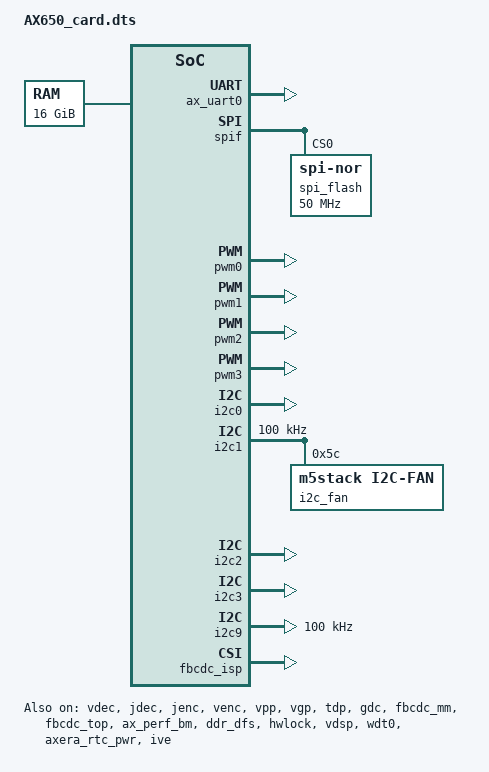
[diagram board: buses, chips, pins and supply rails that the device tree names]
// SPDX-License-Identifier: GPL-2.0
/*
 * dts file for Axera EVB Development Board
 *
 * Copyright (C) 2020, Axera Ltd.
 *
 */

/dts-v1/;
#include "AX650.dtsi"
#include "AX650_pinctrl.dtsi"
#include <dt-bindings/phy/jlsemi-dt-phy.h>
/ {
	memory@100000000 {
		device_type = "memory";
		reg = <0x1 0x00000000 0x4 0x00000000>;
	};
	reserved-memory {
		#address-cells = <2>;
		#size-cells = <2>;
		ranges;
		linux,cma {
			compatible = "shared-dma-pool";
			reusable;
			size = <0x00000000 0x10000000>;
			linux,cma-default;
		};
		axera_memory_dump@0 {
			compatible = "axera_memory_dump";
			reg = <0x1 0x050f0000 0x0 0x3000>;
			fix_addr = <0x7C8D6E02>;
		};
		ramoops_mem@106000000 {
			compatible = "ramoops";
			reg = <0x1 0x06000000 0x0 0xf0000>;
			record-size = <0x40000>;
			console-size = <0x80000>;
			ftrace-size = <0x20000>;
		};

		vdsp0_reserved: vdsp0_reserved@10E000000 {
			no-map;
			reg = <0x1 0x0E000000 0x0 0x1000000>;
		};
		vdsp1_reserved: vdsp1_reserved@10F000000 {
			no-map;
			reg = <0x1 0x0F000000 0x0 0x1000000>;
		};
		ramdisk_mem@140000000 {
			compatible = "axera, ramdisk";
			reg = <0x1 0x40000000 0x0 0x8000000>;
			addr = <0x1 0x40000000>;
			size = <0x0 0x8000000>;
			no-map;
		};
	};

	chosen {
		bootargs = "Please DO NOT config this parameter. Please DO NOT config this parameter. Please DO NOT config this parameter. Please DO NOT config this parameter. Please DO NOT config this parameter. Please DO NOT config this parameter. Please DO NOT config this parameter. Please DO NOT config this parameter. Please config BOOTARGS_EMMC/BOOTARGS_SPINOR/BOOTARGS_SPI in u-boot-2020.04/include/configs/ax650_common.h";
	};

	// usb30: dwc3@0x30c00000 {
	// 	compatible = "snps,dwc3";
	// 	status = "okay";
	// };

	// usb31: dwc3@0x30d00000 {
	// 	compatible = "snps,dwc3";
	// 	status = "okay";
	// };

	// usb32: dwc3@0x28100000 {
	// 	compatible = "snps,dwc3";
	// 	status = "okay";
	// };

	// aliases {
	// 	usb0 = &usb30;
	// 	usb1 = &usb31;
	// 	usb2 = &usb32;
	// };

	fbcdc_config_val: fbcdc_config_val@0 {
		regs-num = <0x62>;
		regs-val = <0x00000020 0x00000001>,
			   <0x00000024 0x00000001>,
			   <0x00000000 0x00000000>,
			   <0x00000014 0x00000000>,
			   <0x00000048 0x0000001c>,
			   <0x0000024c 0x00000010>,
			   <0x0000004c 0x8000006b>,
			   <0x00000054 0x8000006b>,
			   <0x0000005c 0xc7b8a46b>,
			   <0x00000064 0xc7b8a46b>,
			   <0x0000006c 0x70000004>,
			   <0x00000074 0xc5040f71>,
			   <0x0000007c 0xc7148d60>,
			   <0x00000084 0x60000000>,
			   <0x0000008c 0x20000000>,
			   <0x00000094 0x50000000>,
			   <0x0000009c 0xc5a8207b>,
			   <0x000000a4 0x40000000>,
			   <0x000000ac 0xc7b8a46b>,
			   <0x000000b4 0x70000004>,
			   <0x000000bc 0xb0148d60>,
			   <0x000000c4 0x9000124a>,
			   <0x000000cc 0xb0148d60>,
			   <0x000000d4 0x9000124a>,
			   <0x000000dc 0xb0148d60>,
			   <0x000000e4 0x9000124a>,
			   <0x000000ec 0xb0148d60>,
			   <0x000000f4 0x9000124a>,
			   <0x000000fc 0xb0148d60>,
			   <0x00000104 0x9000124a>,
			   <0x0000010c 0xb0148d60>,
			   <0x00000114 0x9000124a>,
			   <0x0000011c 0xb0148d60>,
			   <0x00000124 0x9000124a>,
			   <0x0000012c 0x10000000>,
			   <0x00000050 0x0625a820>,
			   <0x00000058 0x0625a820>,
			   <0x00000060 0x0625a820>,
			   <0x00000068 0x0625a820>,
			   <0x00000070 0x0e65a820>,
			   <0x00000078 0x48d60c51>,
			   <0x00000080 0xc5181ccb>,
			   <0x00000088 0x10b5040f>,
			   <0x00000090 0x00000249>,
			   <0x00000098 0x01181cd3>,
			   <0x000000a0 0x8a46b062>,
			   <0x000000a8 0x0009c928>,
			   <0x000000b0 0x0628c0e6>,
			   <0x000000b8 0x9285a820>,
			   <0x000000c0 0xc5181cd3>,
			   <0x000000c8 0x16a081ee>,
			   <0x000000d0 0xc5181cd3>,
			   <0x000000d8 0x16a081ee>,
			   <0x000000e0 0xc5181cd3>,
			   <0x000000e8 0x16a081ee>,
			   <0x000000f0 0xc5181cd3>,
			   <0x000000f8 0x16a081ee>,
			   <0x00000100 0xc5181cd3>,
			   <0x00000108 0x16a081ee>,
			   <0x00000110 0xc5181cd3>,
			   <0x00000118 0x16a081ee>,
			   <0x00000120 0xc5181cd3>,
			   <0x00000128 0x16a081ee>,
			   <0x00000130 0x00000013>,
			   <0x00000250 0x40000000>,
			   <0x00000258 0x40000000>,
			   <0x00000260 0x60000000>,
			   <0x00000268 0x60000000>,
			   <0x00000270 0x80000029>,
			   <0x00000278 0x80000029>,
			   <0x00000280 0x30000000>,
			   <0x00000288 0x90000101>,
			   <0x00000290 0xa0002029>,
			   <0x00000298 0xa0002029>,
			   <0x000002a0 0xa0002029>,
			   <0x000002a8 0xa0002029>,
			   <0x000002b0 0xa0002029>,
			   <0x000002b8 0xa0002029>,
			   <0x000002c0 0xa0002029>,
			   <0x000002c8 0xa0002029>,
			   <0x000002d0 0x20000000>,
			   <0x00000254 0x00018820>,
			   <0x0000025c 0x00018820>,
			   <0x00000264 0x0a418820>,
			   <0x0000026c 0x0a418820>,
			   <0x00000274 0x06239820>,
			   <0x0000027c 0x06239820>,
			   <0x00000284 0x00002020>,
			   <0x0000028c 0x48311cc9>,
			   <0x00000294 0x06239928>,
			   <0x0000029c 0x06239928>,
			   <0x000002a4 0x06239928>,
			   <0x000002ac 0x06239928>,
			   <0x000002b4 0x06239928>,
			   <0x000002bc 0x06239928>,
			   <0x000002c4 0x06239928>,
			   <0x000002cc 0x06239928>,
			   <0x000002d4 0x00000128>;
	};

	fbcdc_config_val_top: fbcdc_config_val_top@0 {
		regs-num = <0x62>;
		regs-val = <0x00000020 0x00000001>,
			   <0x00000024 0x00000001>,
			   <0x00000000 0x00000001>, /* reverse fbc bypass enable signal of top module */
			   <0x00000014 0x00000001>, /* reverse fbdc bypass enable signal of top module */
			   <0x00000048 0x0000001c>,
			   <0x0000024c 0x00000010>,
			   <0x0000004c 0x8000006b>,
			   <0x00000054 0x8000006b>,
			   <0x0000005c 0xc7b8a46b>,
			   <0x00000064 0xc7b8a46b>,
			   <0x0000006c 0x70000004>,
			   <0x00000074 0xc5040f71>,
			   <0x0000007c 0xc7148d60>,
			   <0x00000084 0x60000000>,
			   <0x0000008c 0x20000000>,
			   <0x00000094 0x50000000>,
			   <0x0000009c 0xc5a8207b>,
			   <0x000000a4 0x40000000>,
			   <0x000000ac 0xc7b8a46b>,
			   <0x000000b4 0x70000004>,
			   <0x000000bc 0xb0148d60>,
			   <0x000000c4 0x9000124a>,
			   <0x000000cc 0xb0148d60>,
			   <0x000000d4 0x9000124a>,
			   <0x000000dc 0xb0148d60>,
			   <0x000000e4 0x9000124a>,
			   <0x000000ec 0xb0148d60>,
			   <0x000000f4 0x9000124a>,
			   <0x000000fc 0xb0148d60>,
			   <0x00000104 0x9000124a>,
			   <0x0000010c 0xb0148d60>,
			   <0x00000114 0x9000124a>,
			   <0x0000011c 0xb0148d60>,
			   <0x00000124 0x9000124a>,
			   <0x0000012c 0x10000000>,
			   <0x00000050 0x0625a820>,
			   <0x00000058 0x0625a820>,
			   <0x00000060 0x0625a820>,
			   <0x00000068 0x0625a820>,
			   <0x00000070 0x0e65a820>,
			   <0x00000078 0x48d60c51>,
			   <0x00000080 0xc5181ccb>,
			   <0x00000088 0x10b5040f>,
			   <0x00000090 0x00000249>,
			   <0x00000098 0x01181cd3>,
			   <0x000000a0 0x8a46b062>,
			   <0x000000a8 0x0009c928>,
			   <0x000000b0 0x0628c0e6>,
			   <0x000000b8 0x9285a820>,
			   <0x000000c0 0xc5181cd3>,
			   <0x000000c8 0x16a081ee>,
			   <0x000000d0 0xc5181cd3>,
			   <0x000000d8 0x16a081ee>,
			   <0x000000e0 0xc5181cd3>,
			   <0x000000e8 0x16a081ee>,
			   <0x000000f0 0xc5181cd3>,
			   <0x000000f8 0x16a081ee>,
			   <0x00000100 0xc5181cd3>,
			   <0x00000108 0x16a081ee>,
			   <0x00000110 0xc5181cd3>,
			   <0x00000118 0x16a081ee>,
			   <0x00000120 0xc5181cd3>,
			   <0x00000128 0x16a081ee>,
			   <0x00000130 0x00000013>,
			   <0x00000250 0x40000000>,
			   <0x00000258 0x40000000>,
			   <0x00000260 0x60000000>,
			   <0x00000268 0x60000000>,
			   <0x00000270 0x80000029>,
			   <0x00000278 0x80000029>,
			   <0x00000280 0x30000000>,
			   <0x00000288 0x90000101>,
			   <0x00000290 0xa0002029>,
			   <0x00000298 0xa0002029>,
			   <0x000002a0 0xa0002029>,
			   <0x000002a8 0xa0002029>,
			   <0x000002b0 0xa0002029>,
			   <0x000002b8 0xa0002029>,
			   <0x000002c0 0xa0002029>,
			   <0x000002c8 0xa0002029>,
			   <0x000002d0 0x20000000>,
			   <0x00000254 0x00018820>,
			   <0x0000025c 0x00018820>,
			   <0x00000264 0x0a418820>,
			   <0x0000026c 0x0a418820>,
			   <0x00000274 0x06239820>,
			   <0x0000027c 0x06239820>,
			   <0x00000284 0x00002020>,
			   <0x0000028c 0x48311cc9>,
			   <0x00000294 0x06239928>,
			   <0x0000029c 0x06239928>,
			   <0x000002a4 0x06239928>,
			   <0x000002ac 0x06239928>,
			   <0x000002b4 0x06239928>,
			   <0x000002bc 0x06239928>,
			   <0x000002c4 0x06239928>,
			   <0x000002cc 0x06239928>,
			   <0x000002d4 0x00000128>;
	};

	aliases {
		pcie0 = &pcie0_ep;
		pcie1 = &pcie1_rc;

		// ethernet0 = &eth0;
		// ethernet1 = &eth1;
	};

	// sound {
	// 	status = "disabled";
	// 	compatible = "simple-audio-card";
	// 	simple-audio-card,name = "Axera Audio";
	// 	simple-audio-card,widgets =
	// 		"Microphone", "Mic Jack",
	// 		"Headphone", "Headphone Jack";
	// 	simple-audio-card,routing =
	// 		"Headphone Jack", "LOUT",
	// 		"Headphone Jack", "ROUT",
	// 		"INPUT", "Mic Jack";
	// 	#address-cells = <1>;
	// 	#size-cells = <0>;
	// 	simple-audio-card,dai-link@0 {
	// 		format = "i2s";
	// 		cpu {
	// 			sound-dai = <&i2s_mst2>;
	// 		};
	// 		codec {
	// 			sound-dai = <&hdmi0>;
	// 		};
	// 	};
	// 	simple-audio-card,dai-link@1 {
	// 		format = "i2s";
	// 		cpu {
	// 			sound-dai = <&i2s_mst3>;
	// 		};
	// 		codec {
	// 			sound-dai = <&hdmi1>;
	// 		};
	// 	};
	// 	simple-audio-card,dai-link@2 {
	// 		format = "i2s";
	// 		cpu {
	// 			sound-dai = <&i2s_mst0>;
	// 		};
	// 		codec {
	// 			sound-dai = <&es7243l>;
	// 			system-clock-frequency = <12288000>;
	// 		};
	// 	};
	// 	simple-audio-card,dai-link@3 {
	// 		format = "i2s";
	// 		cpu {
	// 			sound-dai = <&i2s_mst0>;
	// 		};
	// 		codec {
	// 			sound-dai = <&es8156>;
	// 			system-clock-frequency = <12288000>;
	// 		};
	// 	};
	// };

	vfb0: vfb@0 {
		status = "disabled";
		compatible = "axera,vfb";
		id = <0>;
		width = <1920>;
		height = <1080>;
		bpp = <32>;
		buf-num = <2>;
	};

	vfb1: vfb@1 {
		status = "disabled";
		compatible = "axera,vfb";
		id = <1>;
		width = <1920>;
		height = <1080>;
		bpp = <32>;
		buf-num = <2>;
	};

	vfb2: vfb@2 {
		status = "disabled";
		compatible = "axera,vfb";
		id = <2>;
		width = <1920>;
		height = <1080>;
		bpp = <32>;
		buf-num = <2>;
	};

	vfb3: vfb@3 {
		status = "disabled";
		compatible = "axera,vfb";
		id = <3>;
		width = <64>;
		height = <64>;
		bpp = <32>;
		buf-num = <2>;
		cursor;
	};
	axera_logctl {
		compatible = "axera,logctl";
		config = "/etc/ax_syslog.conf";
		logstate = /bits/ 8 <1 1>;
		loglevel = /bits/ 8 <4 4>;
	};
	// leds {
	// 	compatible = "gpio-leds";
	// 	led1 {
	// 		label = "alive";
	// 		gpios = <&port1a 14 0>;
	// 		linux,default-trigger = "heartbeat";
	// 		status = "okay";
	// 	};
	// };
};

// &emmc {
// 	sdhci-caps-mask = <0x2 0x03200000>;
// 	//sdhci-caps = <0x01000000>;//SDHCI_CAN_VDD_330
// 	bus-width = <8>;
// 	max-frequency = <200000000>;
// 	cap-mmc-hw-reset;
// 	cap-mmc-highspeed;
// 	mmc-hs200-1_8v;
// 	mmc-hs400-1_8v;
// 	mmc-hs400-enhanced-strobe;
// 	no-sdio;
// 	no-sd;
// 	non-removable;
// 	disable-wp;
// 	axera,phy-cnfg = <0x00CC0000>;
// 	axera,phy-cmdpad-cnfg = <0x0449>;
// 	axera,phy-datapad-cnfg = <0x0449>;
// 	axera,phy-clkpad-cnfg = <0x0440>;
// 	axera,phy-stbpad-cnfg = <0x0451>;
// 	axera,phy-rstnpad-cnfg = <0x0449>;
// 	axera,phy-commdl-cnfg = <0x0>;
// 	axera,phy-sdclkdl-cnfg = <0x1>;
// 	axera,phy-sdclkdl-dc = <0x7F>;
// 	axera,phy-smpldl-cnfg = <0xC>;
// 	axera,phy-atdl-cnfg = <0xC>;
// 	status = "disabled";
// };

// &sd {
// 	sdhci-caps-mask = <0x7 0x00200000>;
// 	bus-width = <4>;
// 	max-frequency = <200000000>;
// 	cap-sd-highspeed;
// 	sd-uhs-sdr12;
// 	sd-uhs-sdr25;
// 	sd-uhs-sdr50;
// 	sd-uhs-ddr50;
// 	sd-uhs-sdr104;
// 	no-sdio;
// 	no-mmc;
// 	disable-wp;
// 	axera,swt1v8-drv-str = <0xCC>;
// 	axera,phy-cnfg = <0x00CD0000>;
// 	axera,phy-cmdpad-cnfg = <0x044A>;
// 	axera,phy-datapad-cnfg = <0x044A>;
// 	axera,phy-clkpad-cnfg = <0x0440>;
// 	axera,phy-stbpad-cnfg = <0x0452>;
// 	axera,phy-rstnpad-cnfg = <0x0440>;
// 	axera,phy-commdl-cnfg = <0x0>;
// 	axera,phy-sdclkdl-cnfg = <0x1>;
// 	axera,phy-sdclkdl-dc = <0x7F>;
// 	axera,phy-smpldl-cnfg = <0xC>;
// 	axera,phy-atdl-cnfg = <0xC>;
// 	status = "disabled";
// };

// &sdio {
// 	sdhci-caps-mask = <0x7 0x00200000>;
// 	bus-width = <4>;
// 	max-frequency = <200000000>;
// 	cap-mmc-hw-reset;
// 	cap-sd-highspeed;
// 	sd-uhs-sdr25;
// 	sd-uhs-sdr12;
// 	sd-uhs-sdr50;
// 	sd-uhs-sdr104;
// 	no-1-8-v;
// 	no-sd;
// 	no-mmc;
// 	disable-wp;
// 	axera,swt1v8-drv-str = <0xCC>;
// 	axera,phy-cnfg = <0x00CD0000>;
// 	axera,phy-cmdpad-cnfg = <0x044A>;
// 	axera,phy-datapad-cnfg = <0x044A>;
// 	axera,phy-clkpad-cnfg = <0x0440>;
// 	axera,phy-stbpad-cnfg = <0x0452>;
// 	axera,phy-rstnpad-cnfg = <0x0440>;
// 	axera,phy-commdl-cnfg = <0x0>;
// 	axera,phy-sdclkdl-cnfg = <0x1>;
// 	axera,phy-sdclkdl-dc = <0x7F>;
// 	axera,phy-smpldl-cnfg = <0xC>;
// 	axera,phy-atdl-cnfg = <0xC>;
// 	status = "disabled";
// };

&ax_uart0 {
	status = "okay";
};

&pcie0_rc {
    status = "disabled";
};

&pcie0_ep {
    status = "okay";
};

&pcie1_rc {
    status = "disabled";
};

&pcie1_ep {
    status = "disabled";
};

&sata {
    ports-implemented = <0xf>;
    status = "disabled";
};

&spif {
	status = "okay";
	/*spi_nand@0 {
		compatible = "spi-nand";
		reg = <0>;
		spi-max-frequency = <1000000>;
	};*/
	spi_flash@0 {
		#address-cells = <1>;
		#size-cells = <1>;
		compatible = "jedec,spi-nor";
		reg = <0>;
		spi-max-frequency = <50000000>;
	};
};

// &i2s_mst0 {
// 	status = "okay";
// 	reg = <0x0 0x2033000 0x0 0x800>,
// 		<0x0 0x4251A00 0x0 0x200>,
// 		<0x0 0x4250200 0x0 0x200>;
// 	i2s-m0-sel = <0>;
// 	i2s-m1-sel = <0>;
// 	i2s-s0-sel = <0>;
// 	i2s-s1-sel = <0>;
// 	tdm-m0-sel = <0>;
// 	tdm-m1-sel = <0>;
// 	tdm-s0-sel = <0>;
// 	tdm-s1-sel = <0>;
// 	iis0-func-sel = <0>;
// 	iis1-func-sel = <0>;
// 	iis2-func-sel = <0>;
// 	iis3-func-sel = <0>;
// };

// &i2s_mst2 {
// 	status = "okay";
// };

// &i2s_mst3 {
// 	status = "okay";
// };

&pwm0 {
	status = "okay";
};

&pwm1 {
	status = "okay";
};

&pwm2 {
	status = "okay";
};

&pwm3 {
	status = "okay";
};

&i2c0 {
	status = "okay";
	#address-cells = <0x1>;
	#size-cells = <0x0>;
	// es7243l: es7243l@16 {
	// 	compatible = "es7243l_MicArray_0";
	// 	reg = <0x16>;
	// 	#sound-dai-cells = <0>;
	// };
	// es8156: es8156@9 {
	// 	compatible = "everest,es8156";
	// 	reg = <0x9>;
	// 	#sound-dai-cells = <0>;
	// };

	// typec: sgm7220@47 {
	// 	compatible = "axera,sgm7220";
	// 	reg = <0x47>;
	// 	int-gpio = <&port4a 14 0>;
	// 	chanel-sel = <&port4a 11 0>;
	// 	bind-usb = "30c00000.dwc3";
	// 	status = "okay";
	// };
};

&soc_thm {
	/delete-node/ trips;
	trips {
		threshold: trip-point@0 {
			temperature = <80000>;
			hysteresis = <0>;
			type = "passive";
		};
		target: trip-point@1 {
			temperature = <105000>;
			hysteresis = <0>;
			type = "passive";
		};
		soc_crit: soc-crit {
			temperature = <120000>;
			hysteresis = <0>;
			type = "passive";
		};

		threshold1: trip-point@3 {
			temperature = <40000>;   
			hysteresis = <2500>;
			type = "active";
		};
		threshold2: trip-point@4 {
			temperature = <50000>;   
			hysteresis = <9000>;
			type = "active";
		};
		threshold3: trip-point@5 {
			temperature = <60000>;   
			hysteresis = <9000>;
			type = "active";
		};
		threshold4: trip-point@6 {
			temperature = <65000>;   
			hysteresis = <4000>;
			type = "active";
		};
	};

	cooling-maps {
		map0 {
			trip = <&threshold1>;
			cooling-device = <&i2c_fan 1 1>;
		};
		map1 {
			trip = <&threshold2>;
			cooling-device = <&i2c_fan 2 2>;
		};
		map2 {
			trip = <&threshold3>;
			cooling-device = <&i2c_fan 3 3>;
		};
		map3 {
			trip = <&threshold4>;
			cooling-device = <&i2c_fan 4 4>;
		};
	};

};

&i2c1 {
	status = "okay";
	#address-cells = <0x1>;
	#size-cells = <0x0>;
	clock-frequency = <100000>;
    i2c_fan: fan@5c {
        compatible = "m5stack,i2c-fan";
        reg = <0x5c>;

        /* Thermal framework需要的属性 */
        #cooling-cells = <2>;
		/* 温度-转速映射表
		* 级别0:  8%速度（PWM 20）
		* 级别1: 25%速度（PWM 64）
		* 级别2: 50%速度（PWM 128）  
		* 级别3: 75%速度（PWM 192）
		* 级别4: 90%速度（PWM 230）
		* 级别5:100%速度（PWM 255）
		*/
        cooling-levels = <51 102 153 204 255>;
    };
};

&i2c2 {
	status = "okay";
};

&i2c3 {
	status = "okay";
};

&i2c9 {
	status = "okay";
	clock-frequency = <100000>;
	i2c-sda-hold-time-ns = <2000>;
	i2c-scl-falling-time-ns = <300>;
	i2c-sda-falling-time-ns = <1000>;
	#address-cells = <0x1>;
	#size-cells = <0x0>;
};

&drm0 {
	status = "disabled";
};

&drm1 {
	status = "disabled";
};

&drm2 {
	status = "disabled";
};

&vo0 {
	status = "disabled";
};

&vo1 {
	status = "disabled";
};

&vo2 {
	status = "disabled";
};

&vo3 {
	status = "disabled";
};

&crtc0 {
	status = "disabled";
};

&crtc1 {
	status = "disabled";
};

&crtc2 {
	status = "disabled";
};

&bt_dpi0 {
	bt-8bit-low;

	status = "disabled";
};

&hdmi0 {
	status = "disabled";
};

&hdmi1 {
	status = "disabled";
};

&dsi {
	status = "disabled";
};

&bt_dpi1 {
	bt-8bit-low;

	status = "disabled";
};

&vdec {
	status = "okay";
};

&jdec {
	status = "okay";
};

&jenc {
	status = "okay";
};

&venc {
	status = "okay";
};

&vpp {
	status = "okay";
};

&vgp {
	status = "okay";
};

&tdp {
	status = "okay";
};

&gdc {
	status = "okay";
};

&fbcdc_isp {
	regs-param = <&fbcdc_config_val>;
	status = "okay";
};

&fbcdc_mm {
	regs-param = <&fbcdc_config_val>;
	status = "okay";
};

&fbcdc_top {
	regs-param = <&fbcdc_config_val_top>;
	status = "okay";
};

// &panel_dsi {
// 	status = "disabled";
// 	prepare-delay-ms = <0>;
// 	unprepare-delay-ms = <0>;
// 	enable-delay-ms = <0>;
// 	disable-delay-ms = <0>;
// 	reset-low-delay-ms = <20>;
// 	reset-high-delay-ms = <100>;
// #if 0
// 	resets = <&panel_reset 7 0xd8 1>;
// 	reset-names = "panel_rst";
// #endif
// 	dsi,format = <MIPI_DSI_FMT_RGB888>;
// 	dsi,lanes = <4>;
// 	dsi,flags = <(MIPI_DSI_MODE_VIDEO_SYNC_PULSE | MIPI_DSI_MODE_VIDEO | MIPI_DSI_MODE_LPM)>;
// 	panel-init-seq = [39 00 04 B9 FF 83 99
//                           39 00 10 B1 02 04 6B 8B 01 32 33 11 11 53 01 56 73 02 02
//                           39 00 0c B2 00 80 80 AE 05 07 5A 11 00 10 10
//                           39 00 2d B4 00 FF 00 AC 00 9C 00 00 08 00 00 02 00 26 02 07 09 21 03 00 00 04 A4 88 00 AC 00 9C 00 00 08 00 00 02 00 24 02 07 09 00 00 04 A4 12
//                           39 05 22 D3 00 00 00 00 00 00 00 00 32 10 05 00 05 00 00 00 00 00 00 00 00 00 00 01 00 07 07 03 00 00 00 05 40
//                           39 05 21 D5 00 00 00 01 02 03 00 00 00 00 19 00 18 00 20 21 00 18 00 00 00 00 00 00 00 00 31 31 30 30 2F 2F
//                           39 05 21 D6 40 40 03 02 01 00 40 40 40 40 18 40 19 40 21 20 40 18 40 40 40 40 40 40 40 40 31 31 30 30 2F 2F
//                           39 00 11 D8 28 02 00 2A 28 02 C0 2A 00 00 00 00 00 00 00 00
//                           15 00 02 BD 01
//                           39 00 11 D8 00 00 00 00 00 00 00 00 28 2A 00 2A 28 02 C0 2A
//                           15 00 02 BD 02
//                           39 00 09 D8 28 2A 00 2A 28 02 C0 2A
//                           15 00 02 BD 00
//                           39 00 03 B6 8D 8D
//                           39 00 37 E0 01 49 4F 45 87 8A 8F 84 88 8D 91 94 97 9B A1 A2 A4 AA AB B0 A2 AF AF 59 54 5E 6D 01 49 4F 45 87 8A 8F 84 88 8D 91 94 97 9B A1 A2 A4 AA AB B0 A2 AF AF 59 54 5E 6D
//                           15 00 02 D2 33
//                           39 00 03 B6 7D 7D
//                           39 00 08 BF 40 41 50 09 1A 80 CD
//                           15 00 02 CC 08
//                           15 05 02 36 00
//                           05 00 01 35
//                           05 00 01 29
//                           05 FF 01 00
//                           05 00 01 11
//                           05 FF 01 00];
// 	panel-exit-seq = [05 00 01 00];

// 	display-timings {

// 		timing0 {
// 			/* 1080x1920@60 */
// 			clock-frequency = <148500000>;
// 			hactive = <1080>;
// 			vactive = <1920>;
// 			hfront-porch = <20>;
// 			hsync-len = <70>;
// 			hback-porch = <30>;
// 			vfront-porch = <50>;
// 			vsync-len = <50>;
// 			vback-porch = <42>;
// 			hsync-active = <0>;
// 			vsync-active = <0>;
// 			de-active = <0>;
// 		};
// 	};
// };

// &panel0 {
// 	status = "disabled";

// 	display-timings {

// 		timing0: timing {
// 			/* 720x480@60 */
// 			clock-frequency = <27000000>;
// 			hactive = <720>;
// 			vactive = <480>;
// 			hfront-porch = <16>;
// 			hsync-len = <62>;
// 			hback-porch = <60>;
// 			vfront-porch = <19>;
// 			vsync-len = <6>;
// 			vback-porch = <30>;
// 			hsync-active = <1>;
// 			vsync-active = <1>;
// 			de-active = <1>;
// 		};
// 	};
// };

// &panel1 {
// 	status = "disabled";

// 	display-timings {

// 		timing0 {
// 			/* 720x480@60 */
// 			clock-frequency = <27000000>;
// 			hactive = <720>;
// 			vactive = <480>;
// 			hfront-porch = <19>;
// 			hsync-len = <62>;
// 			hback-porch = <57>;
// 			vfront-porch = <9>;
// 			vsync-len = <6>;
// 			vback-porch = <30>;
// 			hsync-active = <1>;
// 			vsync-active = <1>;
// 			de-active = <1>;
// 		};
// 		timing1 {
// 			/* 800x480@60 */
// 			clock-frequency = <29232000>;
// 			hactive = <800>;
// 			hfront-porch = <40>;
// 			hsync-len = <48>;
// 			hback-porch = <40>;
// 			vactive = <480>;
// 			vfront-porch = <13>;
// 			vsync-len = <3>;
// 			vback-porch = <29>;
// 			hsync-active = <0>;
// 			vsync-active = <0>;
// 			de-active = <1>;
// 		};
// 		timing2 {
// 			/* 720x480@60 */
// 			clock-frequency = <27000000>;
// 			hactive = <720>;
// 			vactive = <480>;
// 			hfront-porch = <19>;
// 			hsync-len = <62>;
// 			hback-porch = <57>;
// 			vfront-porch = <9>;
// 			vsync-len = <6>;
// 			vback-porch = <30>;
// 			hsync-active = <1>;
// 			vsync-active = <1>;
// 			de-active = <1>;
// 			interlaced;
// 		};
// 	};
// };

&ax_perf_bm {
       status = "okay";
};

&ddr_dfs {
       status = "okay";
};

&hwlock {
       status = "okay";
};

&vdsp {
	memory-region = <&vdsp0_reserved>, <&vdsp1_reserved>;
	status = "okay";
};

// &eth0 {
// 	status = "disabled";

// 	phy-handle = <&phy0>;
// 	phy-mode = "rgmii";

// 	mdio {
// 		#address-cells = <1>;
// 		#size-cells = <0>;
// 		compatible = "snps,dwmac-mdio";
// 		phy0: jl2xxx-phy@1 {
// 			compatible = "ethernet-phy-id937c.4030";
// 			jl2xxx,led-enable = <JL2XXX_LED_CTRL_EN>;
// 			jl2xxx,led-mode = <JL2XXX_CFG_LED_MODE>;
// 			jl2xxx,led-period = <JL2XXX_GLOBAL_PERIOD_MS>;
// 			jl2xxx,led-on = <JL2XXX_GLOBAL_ON_MS>;
// 			jl2xxx,led-polarity = <JL2XXX_LED_POLARITY>;
// 			jl2xxx,patch-enable = <JL2XXX_PATCH_CTRL_EN>;
// 			jl2xxx,rgmii-enable = <JL2XXX_RGMII_CTRL_EN>;
// 			jl2xxx,rgmii-tx-delay = <JL2XXX_RGMII_TX_DLY_2NS>;
// 			jl2xxx,rgmii-rx-delay = <JL2XXX_RGMII_RX_DLY_2NS>;
// 			jl2xxx,clk-enable = <JL2XXX_CLK_CTRL_EN>;
// 			jl2xxx,fld-enable = <JL2XXX_FLD_CTRL_EN>;
// 			jl2xxx,fld-delay = <JL2XXX_FLD_DELAY>;
// 			jl2xxx,wol-enable = <JL2XXX_WOL_CTRL_EN>;
// 			jl2xxx,interrupt-enable = <JL2XXX_INTR_CTRL_EN>;
// 			jl2xxx,downshift-enable = <JL2XXX_DSFT_CTRL_EN>;
// 			jl2xxx,downshift-count = <JL2XXX_DSFT_AN_CNT>;
// 			jl2xxx,work_mode-enable = <JL2XXX_WORK_MODE_CTRL_EN>;
// 			jl2xxx,work_mode-mode = <JL2XXX_WOEK_MODE_MODE>;
// 			jl2xxx,lpbk-enable = <JL2XXX_LPBK_CTRL_EN>;
// 			jl2xxx,lpbk-mode = <JL2XXX_LPBK_MODE>;
// 			jl2xxx,slew_rate-enable = <JL2XXX_SLEW_RATE_CTRL_EN>;
// 			jl2xxx,rxc_out-enable = <JL2XXX_RXC_OUT_CTRL_EN>;
// 			reg = <1>;
// 		};
// 	};
// };

// &eth1 {
// 	status = "disabled";

// 	phy-handle = <&phy1>;
// 	phy-mode = "rgmii";

// 	mdio {
// 		#address-cells = <1>;
// 		#size-cells = <0>;
// 		compatible = "snps,dwmac-mdio";
// 		phy1: jl2xxx-phy@1 {
// 			compatible = "ethernet-phy-id937c.4030";
// 			jl2xxx,led-enable = <JL2XXX_LED_CTRL_EN>;
// 			jl2xxx,led-mode = <JL2XXX_CFG_LED_MODE>;
// 			jl2xxx,led-period = <JL2XXX_GLOBAL_PERIOD_MS>;
// 			jl2xxx,led-on = <JL2XXX_GLOBAL_ON_MS>;
// 			jl2xxx,led-polarity = <JL2XXX_LED_POLARITY>;
// 			jl2xxx,patch-enable = <JL2XXX_PATCH_CTRL_EN>;
// 			jl2xxx,rgmii-enable = <JL2XXX_RGMII_CTRL_EN>;
// 			jl2xxx,rgmii-tx-delay = <JL2XXX_RGMII_TX_DLY_2NS>;
// 			jl2xxx,rgmii-rx-delay = <JL2XXX_RGMII_RX_DLY_2NS>;
// 			jl2xxx,clk-enable = <JL2XXX_CLK_CTRL_EN>;
// 			jl2xxx,fld-enable = <JL2XXX_FLD_CTRL_EN>;
// 			jl2xxx,fld-delay = <JL2XXX_FLD_DELAY>;
// 			jl2xxx,wol-enable = <JL2XXX_WOL_CTRL_EN>;
// 			jl2xxx,interrupt-enable = <JL2XXX_INTR_CTRL_EN>;
// 			jl2xxx,downshift-enable = <JL2XXX_DSFT_CTRL_EN>;
// 			jl2xxx,downshift-count = <JL2XXX_DSFT_AN_CNT>;
// 			jl2xxx,work_mode-enable = <JL2XXX_WORK_MODE_CTRL_EN>;
// 			jl2xxx,work_mode-mode = <JL2XXX_WOEK_MODE_MODE>;
// 			jl2xxx,lpbk-enable = <JL2XXX_LPBK_CTRL_EN>;
// 			jl2xxx,lpbk-mode = <JL2XXX_LPBK_MODE>;
// 			jl2xxx,slew_rate-enable = <JL2XXX_SLEW_RATE_CTRL_EN>;
// 			jl2xxx,rxc_out-enable = <JL2XXX_RXC_OUT_CTRL_EN>;
// 			reg = <1>;
// 		};
// 	};
// };

&dmac {
	status = "okay";
};

&dmaxor {
	status = "okay";
};

&dmaxor_dev {
	status = "okay";
};

&dmadim {
	status = "okay";
};

&wdt0 {
	status = "okay";
};

&axera_rtc_pwr {
        status = "okay";
};

&ive {
	status = "okay";
};

&timer2 {
	status = "disabled";
};

&timer3 {
	status = "disabled";
};

&timer4 {
	status = "disabled";
};

&timer5 {
	status = "disabled";
};


































































